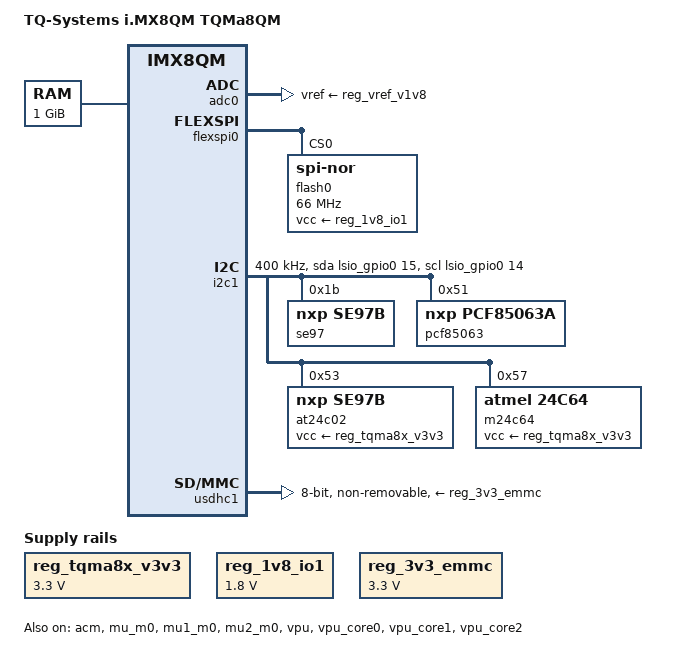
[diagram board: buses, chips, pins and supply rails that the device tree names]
// SPDX-License-Identifier: (GPL-2.0-or-later OR MIT)
/*
 * Copyright (c) 2019-2026 TQ-Systems GmbH <linux@ew.tq-group.com>,
 * D-82229 Seefeld, Germany.
 * Author: Alexander Stein
 */

#include <dt-bindings/firmware/imx/rsrc.h>
#include <dt-bindings/gpio/gpio.h>
#include <dt-bindings/thermal/thermal.h>

#include "imx8qm.dtsi"

/ {
	model = "TQ-Systems i.MX8QM TQMa8QM";
	compatible = "tq,imx8qm-tqma8qm", "fsl,imx8qm";

	/* Due to missing workaround for ERR050104 */
	cpus {
		/delete-node/ cpu-map;
		/delete-node/ cpu@100;
		/delete-node/ cpu@101;
	};

	memory@80000000 {
		device_type = "memory";
		/*
		 * DRAM base addr, size : 1024 MiB DRAM
		 * should be corrected by bootloader
		 */
		reg = <0x00000000 0x80000000 0 0x40000000>;
	};

	reg_tqma8x_v3v3: regulator-tqma8x-v3v3 {
		compatible = "regulator-fixed";
		regulator-name = "V_3V3";
		regulator-min-microvolt = <3300000>;
		regulator-max-microvolt = <3300000>;
		regulator-always-on;
	};

	/* SW7 controlled by SCU */
	reg_1v8_io1: regulator-v1v8-io1 {
		compatible = "regulator-fixed";
		regulator-name = "V_1V8_IO1";
		regulator-min-microvolt = <1800000>;
		regulator-max-microvolt = <1800000>;
		regulator-always-on;
	};

	/* LDO4 controlled by SCU */
	reg_3v3_emmc: regulator-v3v3-emmc {
		compatible = "regulator-fixed";
		regulator-name = "V_3V3_EMMC";
		regulator-min-microvolt = <3300000>;
		regulator-max-microvolt = <3300000>;
		regulator-always-on;
	};
};

&acm {
	status = "okay";
};

&adc0 {
	pinctrl-names = "default";
	pinctrl-0 = <&pinctrl_adc0>;
	vref-supply = <&reg_vref_v1v8>;
	status = "okay";
};

/* TQMa8QM only uses industrial grade, reduce trip points accordingly */
&cpu_alert0 {
	temperature = <95000>;
};

&cpu_crit0 {
	temperature = <100000>;
};

&cpu_alert1 {
	temperature = <95000>;
};

&cpu_crit1 {
	temperature = <100000>;
};

&gpu_alert0 {
	temperature = <95000>;
};

&gpu_crit0 {
	temperature = <100000>;
};

&gpu_alert1 {
	temperature = <95000>;
};

&gpu_crit1 {
	temperature = <100000>;
};

&drc_alert0 {
	temperature = <95000>;
};

&drc_crit0 {
	temperature = <100000>;
};
/* end of temperature grade adjustments */

&flexspi0 {
	pinctrl-names = "default";
	pinctrl-0 = <&pinctrl_flexspi0>;
	status = "okay";

	flash0: flash@0 {
		compatible = "jedec,spi-nor";
		reg = <0>;
		spi-max-frequency = <66000000>;
		spi-tx-bus-width = <4>;
		spi-rx-bus-width = <4>;
		vcc-supply = <&reg_1v8_io1>;

		partitions {
			compatible = "fixed-partitions";
			#address-cells = <1>;
			#size-cells = <1>;
		};
	};
};

&i2c1 {
	clock-frequency = <400000>;
	pinctrl-names = "default", "gpio";
	pinctrl-0 = <&pinctrl_lpi2c1>;
	pinctrl-1 = <&pinctrl_lpi2c1gpio>;
	scl-gpios = <&lsio_gpio0 14 (GPIO_ACTIVE_HIGH | GPIO_OPEN_DRAIN)>;
	sda-gpios = <&lsio_gpio0 15 (GPIO_ACTIVE_HIGH | GPIO_OPEN_DRAIN)>;
	status = "okay";

	se97: temperature-sensor@1b {
		compatible = "nxp,se97b", "jedec,jc-42.4-temp";
		reg = <0x1b>;
	};

	pcf85063: rtc@51 {
		compatible = "nxp,pcf85063a";
		reg = <0x51>;
		quartz-load-femtofarads = <7000>;
	};

	at24c02: eeprom@53 {
		compatible = "nxp,se97b", "atmel,24c02";
		reg = <0x53>;
		pagesize = <16>;
		read-only;
		vcc-supply = <&reg_tqma8x_v3v3>;
	};

	m24c64: eeprom@57 {
		compatible = "atmel,24c64";
		reg = <0x57>;
		pagesize = <32>;
		vcc-supply = <&reg_tqma8x_v3v3>;
	};
};

&mu_m0 {
	status = "okay";
};

&mu1_m0 {
	status = "okay";
};

&mu2_m0 {
	status = "okay";
};

&thermal_zones {
	/delete-node/ cpu1-thermal;

	pmic0-thermal {
		polling-delay-passive = <250>;
		polling-delay = <2000>;
		thermal-sensors = <&tsens IMX_SC_R_PMIC_0>;

		trips {
			pmic_alert0: trip0 {
				temperature = <110000>;
				hysteresis = <2000>;
				type = "passive";
			};
			pmic_crit0: trip1 {
				temperature = <125000>;
				hysteresis = <2000>;
				type = "critical";
			};
		};

		cooling-maps {
			map0 {
				trip = <&pmic_alert0>;
				cooling-device =
					<&A53_0 THERMAL_NO_LIMIT THERMAL_NO_LIMIT>,
					<&A53_1 THERMAL_NO_LIMIT THERMAL_NO_LIMIT>,
					<&A53_2 THERMAL_NO_LIMIT THERMAL_NO_LIMIT>,
					<&A53_3 THERMAL_NO_LIMIT THERMAL_NO_LIMIT>;
			};
		};
	};
};

&usdhc1 {
	pinctrl-names = "default", "state_100mhz", "state_200mhz";
	pinctrl-0 = <&pinctrl_usdhc1>;
	pinctrl-1 = <&pinctrl_usdhc1_100mhz>;
	pinctrl-2 = <&pinctrl_usdhc1_200mhz>;
	bus-width = <8>;
	vmmc-supply = <&reg_3v3_emmc>;
	vqmmc-supply = <&reg_1v8_io1>;
	no-sd;
	no-sdio;
	non-removable;
	status = "okay";
};

&vpu {
	compatible = "nxp,imx8qm-vpu";
	status = "okay";
};

&vpu_core0 {
	memory-region = <&decoder_boot>, <&decoder_rpc>;
	status = "okay";
};

&vpu_core1 {
	memory-region = <&encoder1_boot>, <&encoder1_rpc>;
	status = "okay";
};

&vpu_core2 {
	memory-region = <&encoder2_boot>, <&encoder2_rpc>;
	status = "okay";
};

&iomuxc {
	pinctrl_lpi2c1: lpi2c1grp {
		fsl,pins = <IMX8QM_GPT0_CAPTURE_DMA_I2C1_SDA		0x0600004d>,
			   <IMX8QM_GPT0_CLK_DMA_I2C1_SCL		0x0600004d>;
	};

	pinctrl_lpi2c1gpio: lpi2c1gpiogrp {
		fsl,pins = <IMX8QM_GPT0_CAPTURE_LSIO_GPIO0_IO15		0x0600004d>,
			   <IMX8QM_GPT0_CLK_LSIO_GPIO0_IO14		0x0600004d>;
	};

	pinctrl_usdhc1: usdhc1grp {
		fsl,pins = <IMX8QM_EMMC0_CLK_CONN_EMMC0_CLK		0x06000041>,
			   <IMX8QM_EMMC0_CMD_CONN_EMMC0_CMD		0x00000021>,
			   <IMX8QM_EMMC0_DATA0_CONN_EMMC0_DATA0		0x00000021>,
			   <IMX8QM_EMMC0_DATA1_CONN_EMMC0_DATA1		0x00000021>,
			   <IMX8QM_EMMC0_DATA2_CONN_EMMC0_DATA2		0x00000021>,
			   <IMX8QM_EMMC0_DATA3_CONN_EMMC0_DATA3		0x00000021>,
			   <IMX8QM_EMMC0_DATA4_CONN_EMMC0_DATA4		0x00000021>,
			   <IMX8QM_EMMC0_DATA5_CONN_EMMC0_DATA5		0x00000021>,
			   <IMX8QM_EMMC0_DATA6_CONN_EMMC0_DATA6		0x00000021>,
			   <IMX8QM_EMMC0_DATA7_CONN_EMMC0_DATA7		0x00000021>,
			   <IMX8QM_EMMC0_STROBE_CONN_EMMC0_STROBE	0x00000041>,
			   <IMX8QM_EMMC0_RESET_B_CONN_EMMC0_RESET_B	0x00000021>;
	};

	pinctrl_usdhc1_100mhz: usdhc1-100mhzgrp {
		fsl,pins = <IMX8QM_EMMC0_CLK_CONN_EMMC0_CLK		0x06000040>,
			   <IMX8QM_EMMC0_CMD_CONN_EMMC0_CMD		0x00000021>,
			   <IMX8QM_EMMC0_DATA0_CONN_EMMC0_DATA0		0x00000021>,
			   <IMX8QM_EMMC0_DATA1_CONN_EMMC0_DATA1		0x00000021>,
			   <IMX8QM_EMMC0_DATA2_CONN_EMMC0_DATA2		0x00000021>,
			   <IMX8QM_EMMC0_DATA3_CONN_EMMC0_DATA3		0x00000021>,
			   <IMX8QM_EMMC0_DATA4_CONN_EMMC0_DATA4		0x00000021>,
			   <IMX8QM_EMMC0_DATA5_CONN_EMMC0_DATA5		0x00000021>,
			   <IMX8QM_EMMC0_DATA6_CONN_EMMC0_DATA6		0x00000021>,
			   <IMX8QM_EMMC0_DATA7_CONN_EMMC0_DATA7		0x00000021>,
			   <IMX8QM_EMMC0_STROBE_CONN_EMMC0_STROBE	0x00000041>,
			   <IMX8QM_EMMC0_RESET_B_CONN_EMMC0_RESET_B	0x00000021>;
	};

	pinctrl_usdhc1_200mhz: usdhc1-200mhzgrp {
		fsl,pins = <IMX8QM_EMMC0_CLK_CONN_EMMC0_CLK		0x06000040>,
			   <IMX8QM_EMMC0_CMD_CONN_EMMC0_CMD		0x00000021>,
			   <IMX8QM_EMMC0_DATA0_CONN_EMMC0_DATA0		0x00000021>,
			   <IMX8QM_EMMC0_DATA1_CONN_EMMC0_DATA1		0x00000021>,
			   <IMX8QM_EMMC0_DATA2_CONN_EMMC0_DATA2		0x00000021>,
			   <IMX8QM_EMMC0_DATA3_CONN_EMMC0_DATA3		0x00000021>,
			   <IMX8QM_EMMC0_DATA4_CONN_EMMC0_DATA4		0x00000021>,
			   <IMX8QM_EMMC0_DATA5_CONN_EMMC0_DATA5		0x00000021>,
			   <IMX8QM_EMMC0_DATA6_CONN_EMMC0_DATA6		0x00000021>,
			   <IMX8QM_EMMC0_DATA7_CONN_EMMC0_DATA7		0x00000021>,
			   <IMX8QM_EMMC0_STROBE_CONN_EMMC0_STROBE	0x00000041>,
			   <IMX8QM_EMMC0_RESET_B_CONN_EMMC0_RESET_B	0x00000021>;
	};

	pinctrl_flexspi0: flexspi0grp {
		fsl,pins = <IMX8QM_QSPI0A_DATA0_LSIO_QSPI0A_DATA0	0x0000004d>,
			   <IMX8QM_QSPI0A_DATA1_LSIO_QSPI0A_DATA1	0x0000004d>,
			   <IMX8QM_QSPI0A_DATA2_LSIO_QSPI0A_DATA2	0x0000004d>,
			   <IMX8QM_QSPI0A_DATA3_LSIO_QSPI0A_DATA3	0x0000004d>,
			   <IMX8QM_QSPI0A_DQS_LSIO_QSPI0A_DQS		0x0000004d>,
			   <IMX8QM_QSPI0A_SS0_B_LSIO_QSPI0A_SS0_B	0x0000004d>,
			   <IMX8QM_QSPI0A_SS1_B_LSIO_QSPI0A_SS1_B	0x0000004d>,
			   <IMX8QM_QSPI0A_SCLK_LSIO_QSPI0A_SCLK		0x0000004d>,
			   <IMX8QM_QSPI0B_SCLK_LSIO_QSPI0B_SCLK		0x0000004d>,
			   <IMX8QM_QSPI0B_DATA0_LSIO_QSPI0B_DATA0	0x0000004d>,
			   <IMX8QM_QSPI0B_DATA1_LSIO_QSPI0B_DATA1	0x0000004d>,
			   <IMX8QM_QSPI0B_DATA2_LSIO_QSPI0B_DATA2	0x0000004d>,
			   <IMX8QM_QSPI0B_DATA3_LSIO_QSPI0B_DATA3	0x0000004d>,
			   <IMX8QM_QSPI0B_DQS_LSIO_QSPI0B_DQS		0x0000004d>,
			   <IMX8QM_QSPI0B_SS0_B_LSIO_QSPI0B_SS0_B	0x0000004d>,
			   <IMX8QM_QSPI0B_SS1_B_LSIO_QSPI0B_SS1_B	0x0000004d>;
	};
};
